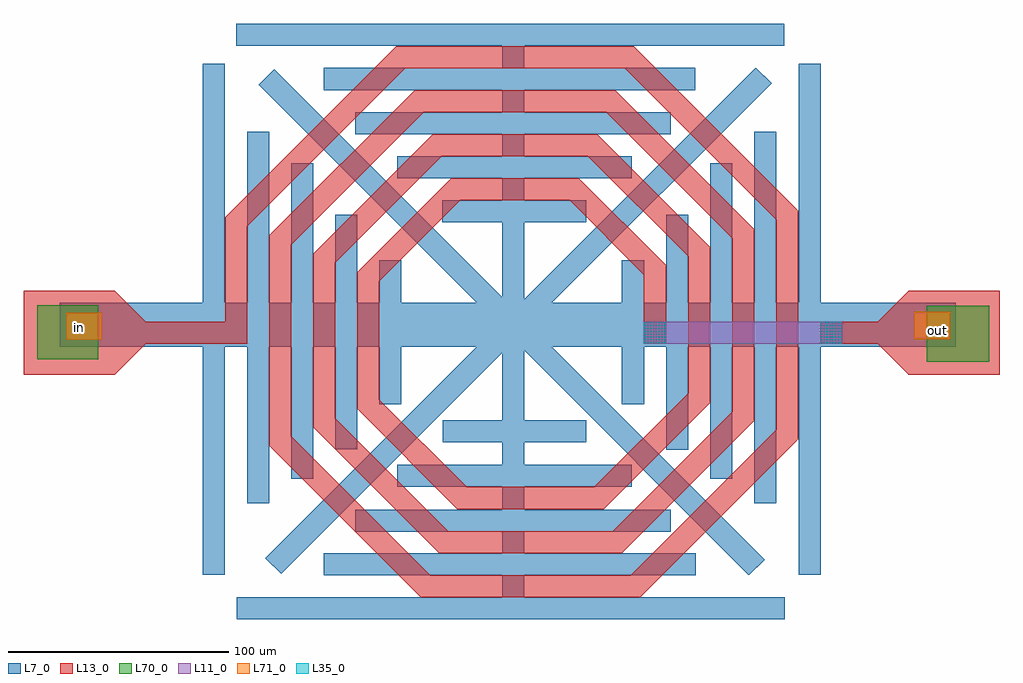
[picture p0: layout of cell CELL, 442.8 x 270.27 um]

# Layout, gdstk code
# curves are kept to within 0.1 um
import gdstk
lib = gdstk.Library(unit=1e-6, precision=1e-09)
def R(c, l, rs):  # rectangles x0, y0, x1, y1
    for r in rs: c.add(gdstk.rectangle(r[:2], r[2:], *l))
def A(c, l, x, y, w, h, nx, ny, dx, dy):  # array of equal rectangles
    R(c, l, [(x+i*dx, y+j*dy, x+i*dx+w, y+j*dy+h) for i in range(nx) for j in range(ny)])
def P(c, l, *ps):  # polygons
    for p in ps: c.add(gdstk.Polygon(p, *l))
L7_0 = (7, 0)
L11_0 = (11, 0)
L13_0 = (13, 0)
L35_0 = (35, 0)
L70_0 = (70, 0)
L71_0 = (71, 0)

cell = lib.new_cell('CELL')
P(cell, L7_0, [(-130.12,139.01),(-130.12,129.01),(-9.53,129.01),(-9.53,118.9),(-90.47,118.9),(-90.47,108.9),(-9.53,108.9),(-9.53,98.76),(-76.27,98.76),(-76.27,88.76),(-9.53,88.76),(-9.53,78.79),(-57.18,78.79),(-57.18,68.79),(-9.53,68.79),(-9.53,58.8),(-36.62,58.8),(-36.62,48.8),(-9.53,48.8),(-9.53,14.95),(-112.99,118.4),(-120.07,111.32),(-21.09,12.35),(-55.3,12.35),(-55.3,31.56),(-65.3,31.56),(-65.3,12.35),(-75.17,12.35),(-75.17,52.38),(-85.17,52.38),(-85.17,12.35),(-95.21,12.35),(-95.21,75.73),(-105.21,75.73),(-105.21,12.35),(-115.13,12.35),(-115.13,89.95),(-125.13,89.95),(-125.13,12.35),(-135.3,12.35),(-135.3,120.87),(-145.3,120.87),(-145.3,12.35),(-210.22,12.35),(-210.22,-7.65),(-145.3,-7.65),(-145.3,-111.1),(-135.3,-111.1),(-135.3,-7.65),(-125.13,-7.65),(-125.13,-78.66),(-115.13,-78.66),(-115.13,-7.65),(-105.21,-7.65),(-105.21,-67.51),(-95.21,-67.51),(-95.21,-7.65),(-85.17,-7.65),(-85.17,-54.11),(-75.17,-54.11),(-75.17,-7.65),(-65.3,-7.65),(-65.3,-33.61),(-55.3,-33.61),(-55.3,-7.65),(-21.15,-7.65),(-116.94,-103.44),(-109.86,-110.52),(-9.53,-10.19),(-9.53,-40.89),(-36.59,-40.89),(-36.59,-50.89),(-9.53,-50.89),(-9.53,-61.13),(-57.17,-61.13),(-57.17,-71.13),(-9.53,-71.13),(-9.53,-81.53),(-76.25,-81.53),(-76.25,-91.53),(-9.53,-91.53),(-9.53,-101.19),(-90.37,-101.19),(-90.37,-111.19),(-9.53,-111.19),(-9.53,-121.26),(-129.96,-121.26),(-129.96,-131.26),(118.67,-131.26),(118.67,-121.26),(0.47,-121.26),(0.47,-111.19),(78.24,-111.19),(78.24,-101.19),(0.47,-101.19),(0.47,-91.53),(66.99,-91.53),(66.99,-81.53),(0.47,-81.53),(0.47,-71.13),(49.32,-71.13),(49.32,-61.13),(0.47,-61.13),(0.47,-50.89),(28.58,-50.89),(28.58,-40.89),(0.47,-40.89),(0.47,-9.22),(102.45,-111.2),(109.53,-104.12),(13.07,-7.65),(44.83,-7.65),(44.83,-33.62),(54.83,-33.62),(54.83,-7.65),(64.82,-7.65),(64.82,-54.25),(74.82,-54.25),(74.82,-7.65),(84.87,-7.65),(84.87,-67.51),(94.87,-67.51),(94.87,-7.65),(104.91,-7.65),(104.91,-78.66),(114.91,-78.66),(114.91,-7.65),(125.08,-7.65),(125.08,-111.09),(135.08,-111.09),(135.08,-7.65),(196.23,-7.65),(196.23,12.35),(135.08,12.35),(135.08,120.88),(125.08,120.88),(125.08,12.35),(114.91,12.35),(114.91,89.95),(104.91,89.95),(104.91,12.35),(94.87,12.35),(94.87,75.73),(84.87,75.73),(84.87,12.35),(74.82,12.35),(74.82,52.24),(64.82,52.24),(64.82,12.35),(54.83,12.35),(54.83,31.55),(44.83,31.55),(44.83,12.35),(13.01,12.35),(112.66,112),(105.58,119.08),(0.47,13.97),(0.47,48.8),(28.55,48.8),(28.55,58.8),(0.47,58.8),(0.47,68.79),(49.31,68.79),(49.31,78.79),(0.47,78.79),(0.47,88.76),(66.97,88.76),(66.97,98.76),(0.47,98.76),(0.47,108.9),(78.14,108.9),(78.14,118.9),(0.47,118.9),(0.47,129.01),(118.51,129.01),(118.51,139.01)])
R(cell, L11_0, [(54.8,-6.2,144.8,3.8)])
P(cell, L13_0, [(174.6,17.9),(174.6,17.6),(160.8,3.8),(134.8,3.8),(134.8,-6.2),(160.8,-6.2),(174.6,-20),(174.6,-20.2),(216.1,-20.2),(216.1,17.9)],
  [(-57.6,128.8),(-135.2,51.2),(-135.2,3.8),(-171.2,3.8),(-185.2,17.9),(-226.7,17.9),(-226.7,-20.2),(-185.2,-20.2),(-171.2,-6.2),(-125.2,-6.2),(-125.2,47),(-53.4,118.8),(46,118.8),(114.8,50),(114.8,-45.3),(48.9,-111.2),(-42.2,-111.2),(-105.2,-48.2),(-105.2,38.8),(-45.2,98.8),(37.7,98.8),(94.8,41.7),(94.8,-37),(40.6,-91.2),(-34,-91.2),(-85.2,-40),(-85.2,30.5),(-36.9,78.8),(29.4,78.8),(74.8,33.4),(74.8,-28.7),(32.3,-71.2),(-25.7,-71.2),(-65.2,-31.7),(-65.2,22.2),(-28.6,58.8),(21.1,58.8),(54.8,25.1),(54.8,-6.2),(64.8,-6.2),(64.8,29.3),(25.3,68.8),(-32.7,68.8),(-75.2,26.3),(-75.2,-35.8),(-29.8,-81.2),(36.5,-81.2),(84.8,-32.9),(84.8,37.6),(33.6,88.8),(-41,88.8),(-95.2,34.6),(-95.2,-44.1),(-38.1,-101.2),(44.8,-101.2),(104.8,-41.2),(104.8,45.8),(41.8,108.8),(-49.3,108.8),(-115.2,42.9),(-115.2,-52.4),(-46.4,-121.2),(53.1,-121.2),(124.8,-49.5),(124.8,54.1),(50.1,128.8)])
A(cell, L35_0, 55, -6, 0.6, 0.6, 4, 3, 1.3, 1.3)
A(cell, L35_0, 60.1, -6, 0.6, 0.6, 4, 3, 1.3, 1.3)
A(cell, L35_0, 135, -6, 0.6, 0.6, 4, 3, 1.3, 1.3)
A(cell, L35_0, 140.1, -6, 0.6, 0.6, 4, 3, 1.3, 1.3)
A(cell, L35_0, 55, -2.2, 0.6, 0.6, 4, 5, 1.3, 1.3)
A(cell, L35_0, 60.1, -2.2, 0.6, 0.6, 4, 5, 1.3, 1.3)
A(cell, L35_0, 135, -2.2, 0.6, 0.6, 4, 5, 1.3, 1.3)
A(cell, L35_0, 140.1, -2.2, 0.6, 0.6, 4, 5, 1.3, 1.3)
R(cell, L70_0, [(183,-14.45,211.55,11.05), (-220.35,-13.35,-192.8,11.15)])
R(cell, L71_0, [(-207.4,-4.5,-191.1,7.9), (177.5,-4.1,193.8,8.3)])
cell.add(gdstk.Label('out', (187.8,0), layer=70, texttype=1))
cell.add(gdstk.Label('in', (-201.3,1), layer=70, texttype=1))
cell.add(gdstk.Label('gnd1', (-204.9,0.4), layer=71, texttype=1))
cell.add(gdstk.Label('gnd2', (181.4,0.9), layer=71, texttype=1))

lib.write_gds('CELL.gds')
